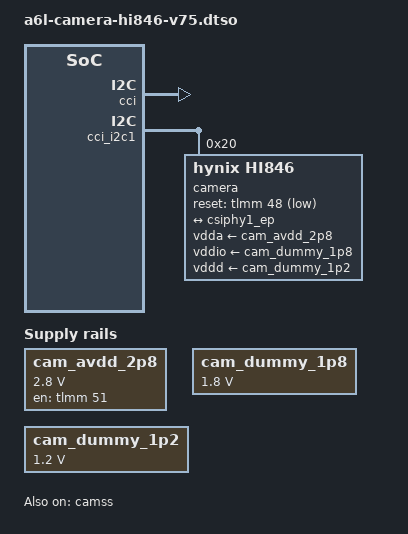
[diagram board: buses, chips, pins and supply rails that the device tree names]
// SPDX-License-Identifier: GPL-2.0-only
// A6L camera phase 1: rear AUX sensor SK Hynix Hi-846 (8 MP) with the upstream hi846 driver.
// Stock wiring (stock DT qcom,camera@1 + camera_config.xml CameraId 1 "hi846_hmct"):
//   CCI master 1 (gpio38/39), MCLK2 = gpio34 @ 24 MHz, reset = gpio48, CSIPHY 1,
//   AVDD 2.8 V = fixed regulator on gpio51 (shared with the main camera + AF),
//   DVDD/DOVDD are not described in stock DT (board-always-on) -> dummy fixed regulators here.
//   Slave: xml 0x40 (8-bit) = 0x20 7-bit; the vendor lib struct says 0x42 (0x21). Try 0x20 first.
//   Lanes: NOT known (stock lib struct not decoded). 2 lanes first (hi846 upstream 2-lane table), then 4.
// UNTESTED. Needs i2c-qcom-cci.ko + hi846.ko (external build) + qcom-camss.ko (=m in v67).
/dts-v1/;
/plugin/;
#include <dt-bindings/gpio/gpio.h>
#include <dt-bindings/clock/qcom,mmcc-sdm660.h>

&{/} {
	cam_avdd_2p8: cam-avdd-2p8 {
		compatible = "regulator-fixed";
		regulator-name = "cam_avdd_2p8";
		regulator-min-microvolt = <2800000>;
		regulator-max-microvolt = <2800000>;
		gpio = <&tlmm 51 GPIO_ACTIVE_HIGH>;
		enable-active-high;
		startup-delay-us = <1000>;
	};

	cam_dummy_1p8: cam-dummy-1p8 {
		compatible = "regulator-fixed";
		regulator-name = "cam_dovdd_board";
		regulator-min-microvolt = <1800000>;
		regulator-max-microvolt = <1800000>;
		regulator-always-on;
	};

	cam_dummy_1p2: cam-dummy-1p2 {
		compatible = "regulator-fixed";
		regulator-name = "cam_dvdd_board";
		regulator-min-microvolt = <1200000>;
		regulator-max-microvolt = <1200000>;
		regulator-always-on;
	};
};

&tlmm {
	cam_mclk2_default: cam-mclk2-default-state {
		pins = "gpio34";
		function = "cam_mclk";
		drive-strength = <2>;
		bias-disable;
	};
};

&cci {
	status = "okay";
};

&cci_i2c1 {
	#address-cells = <1>;
	#size-cells = <0>;

	camera@20 {
		compatible = "hynix,hi846";
		reg = <0x20>;
		clocks = <&mmcc CAMSS_MCLK2_CLK>;
		assigned-clocks = <&mmcc CAMSS_MCLK2_CLK>;
		assigned-clock-rates = <24000000>;
		pinctrl-names = "default";
		pinctrl-0 = <&cam_mclk2_default>;
		reset-gpios = <&tlmm 48 GPIO_ACTIVE_LOW>;
		vdda-supply = <&cam_avdd_2p8>;
		vddio-supply = <&cam_dummy_1p8>;
		vddd-supply = <&cam_dummy_1p2>;
		rotation = <90>;
		orientation = <1>;	/* back */

		port {
			hi846_ep: endpoint {
				data-lanes = <1 2>;
				link-frequencies = /bits/ 64 <80000000 200000000>;
				remote-endpoint = <&csiphy1_ep>;
			};
		};
	};
};

&camss {
	status = "okay";

	ports {
		#address-cells = <1>;
		#size-cells = <0>;

		port@1 {
			reg = <1>;
			csiphy1_ep: endpoint {
				data-lanes = <0 1>;
				clock-lanes = <7>;
				remote-endpoint = <&hi846_ep>;
			};
		};
	};
};
